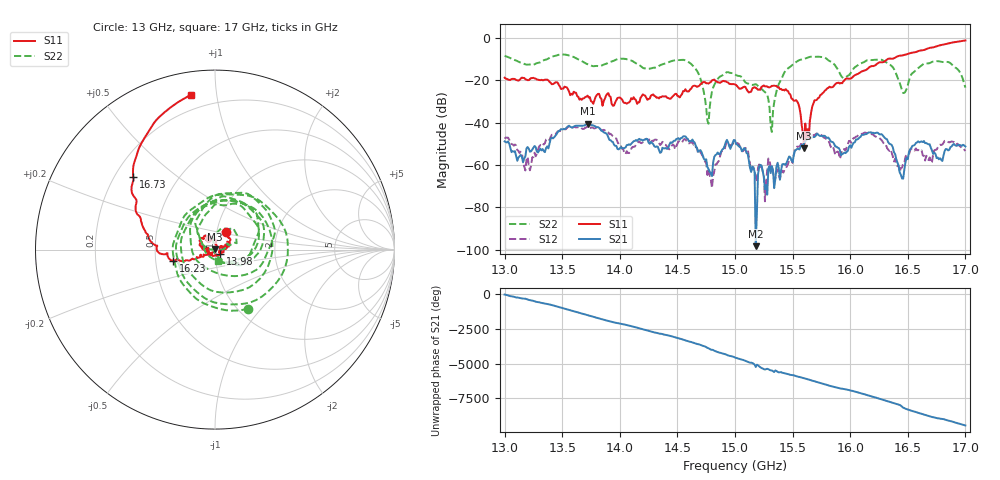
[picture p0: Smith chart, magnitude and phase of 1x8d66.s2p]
!Keysight Technologies,P9374A,MY57211807,A.19.30.04
!Date: Friday, May 08, 2026 15:22:58
!Correction: S11(C  2-Port  )
!S21(C  2-Port  )
!S12(C  2-Port  )
!S22(C  2-Port  )
!S2P File: Measurements: S11, S21, S12, S22:
# Hz S  dB  R 50
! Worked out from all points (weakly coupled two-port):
!   401 points, 13 GHz to 17 GHz, reference 50 ohm
!   highest |S21| = -40.57 dB at 13.72 GHz (marker M1); lowest = -98.4 dB at 15.18 GHz (marker M2)
!   lowest |S11| = -52.2 dB at 15.6 GHz (marker M3), VSWR 1.00, Z = 49.8 + j0.0963 ohm
!   |S11| at or under -10 dB: start of sweep to 16.33 GHz
!   |S22| runs from -44.5 to -7.8 dB; largest |S21 - S12| = 0.0021
!   S11 on the Smith chart (normalised r, x): 13 GHz: 1.11, +0.22; 13.98 GHz: 1.06, -0.05; 16.23 GHz: 0.62, -0.08; 16.73 GHz: 0.27, +0.36; 17 GHz: 0.12, +0.85
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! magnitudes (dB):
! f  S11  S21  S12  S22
! 13 GHz  -18.8  -48.9  -47.6  -8.5
! 13.2 GHz  -19.9  -51.5  -56.1  -12.6
! 13.67 GHz  -29.2  -41.5  -42.7  -10.9
! 13.72 GHz  -27.2  -40.6  -42.0  -12.4
! 13.98 GHz  -28.4  -52.5  -49.1  -10.0
! 14.34 GHz  -28.6  -53.0  -49.6  -13.2
! 14.62 GHz  -23.9  -48.8  -49.5  -12.3
! 14.76 GHz  -21.4  -60.8  -64.8  -39.0
! 14.85 GHz  -21.0  -54.1  -58.7  -19.4
! 15 GHz  -21.9  -48.3  -49.0  -17.2
! 15.18 GHz  -23.6  -98.4  -66.2  -21.9
! 15.32 GHz  -22.6  -60.6  -60.5  -44.5
! 15.43 GHz  -24.8  -59.7  -62.3  -16.2
! 15.6 GHz  -52.2  -49.8  -47.8  -9.9
! 15.67 GHz  -32.5  -47.1  -46.0  -8.9
! 15.95 GHz  -20.0  -54.2  -52.5  -18.8
! 16.23 GHz  -12.4  -44.7  -46.8  -10.3
! 16.34 GHz  -9.8  -50.0  -53.4  -12.4
! 16.45 GHz  -8.3  -66.4  -61.3  -24.8
! 16.57 GHz  -6.6  -49.7  -52.2  -15.3
! 16.73 GHz  -4.3  -54.1  -53.1  -11.0
! 17 GHz  -1.2  -51.3  -53.4  -23.5
